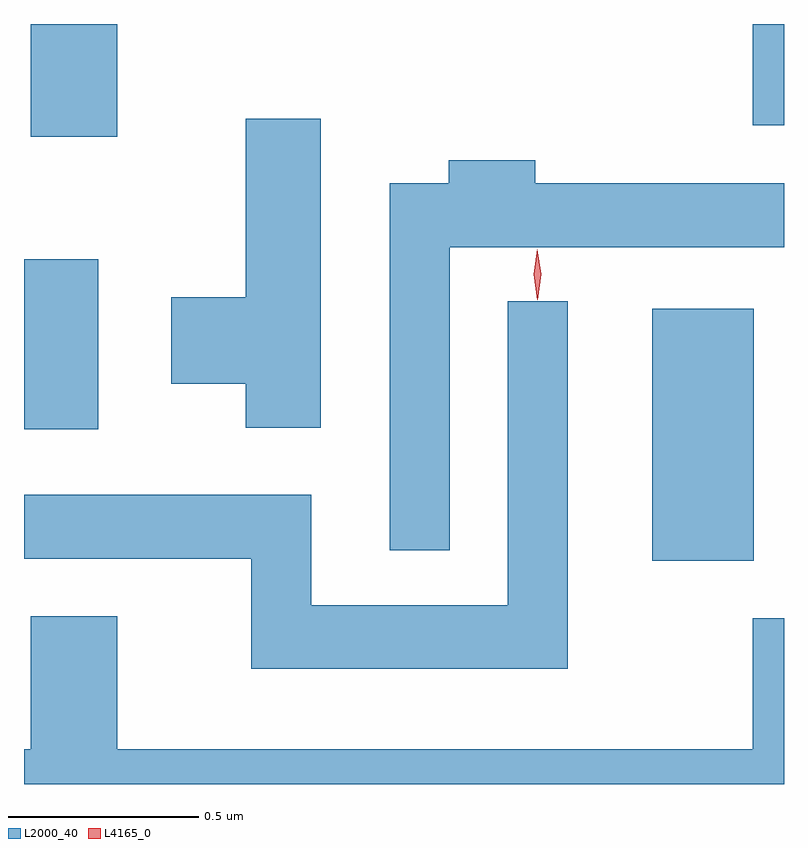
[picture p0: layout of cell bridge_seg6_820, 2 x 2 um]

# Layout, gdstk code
import gdstk
lib = gdstk.Library(unit=1e-6, precision=1e-09)
def R(c, l, rs):  # rectangles x0, y0, x1, y1
    for r in rs: c.add(gdstk.rectangle(r[:2], r[2:], *l))
def P(c, l, *ps):  # polygons
    for p in ps: c.add(gdstk.Polygon(p, *l))
L2000_40 = (2000, 40)
L4165_0 = (4165, 0)

bridge_seg6_820 = lib.new_cell('bridge_seg6_820')
R(bridge_seg6_820, L2000_40, [(492.386,1586.321,492.654,1586.984), (490.733,1586.666,490.929,1587.114), (490.751,1587.436,490.979,1587.733), (492.651,1587.466,492.733,1587.733)])
P(bridge_seg6_820, L2000_40, [(491.514,1587.484),(491.316,1587.484),(491.316,1587.014),(491.121,1587.014),(491.121,1586.786),(491.316,1586.786),(491.316,1586.671),(491.514,1586.671)],
  [(491.854,1587.146),(492.733,1587.146),(492.733,1587.314),(492.079,1587.314),(492.079,1587.374),(491.851,1587.374),(491.851,1587.314),(491.696,1587.314),(491.696,1586.348),(491.854,1586.348)],
  [(492.164,1587.003),(492.006,1587.003),(492.006,1586.204),(491.489,1586.204),(491.489,1586.494),(490.733,1586.494),(490.733,1586.326),(491.331,1586.326),(491.331,1586.036),(492.164,1586.036)],
  [(492.733,1586.169),(492.651,1586.169),(492.651,1585.824),(490.979,1585.824),(490.979,1586.174),(490.751,1586.174),(490.751,1585.824),(490.733,1585.824),(490.733,1585.733),(492.733,1585.733)])
P(bridge_seg6_820, L4165_0, [(492.084,1587.007),(492.084,1587.007),(492.074,1587.074),(492.083,1587.14),(492.084,1587.14),(492.084,1587.14),(492.094,1587.074),(492.085,1587.007)])

lib.write_gds('bridge_seg6_820.gds')
